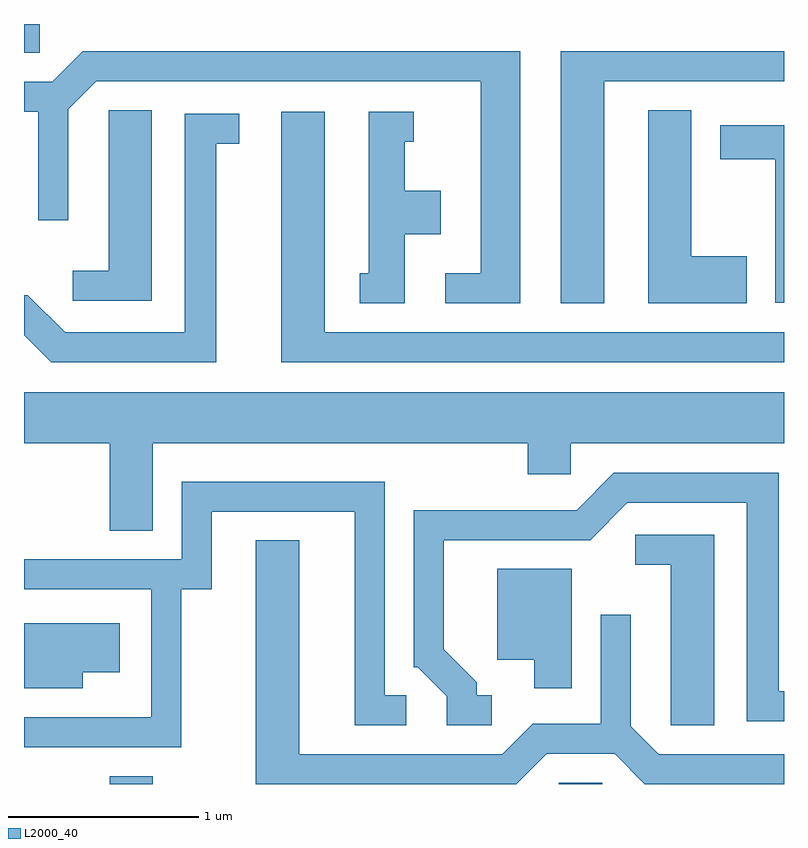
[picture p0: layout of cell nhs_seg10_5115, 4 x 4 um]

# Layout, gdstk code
import gdstk
lib = gdstk.Library(unit=1e-6, precision=1e-09)
def R(c, l, rs):  # rectangles x0, y0, x1, y1
    for r in rs: c.add(gdstk.rectangle(r[:2], r[2:], *l))
def P(c, l, *ps):  # polygons
    for p in ps: c.add(gdstk.Polygon(p, *l))
L2000_40 = (2000, 40)

nhs_seg10_5115 = lib.new_cell('nhs_seg10_5115')
R(nhs_seg10_5115, L2000_40, [(336.061,2156.522,336.289,2156.564), (338.426,2156.522,338.654,2156.529), (335.611,2160.371,335.694,2160.522)])
P(nhs_seg10_5115, L2000_40, [(338.664,2160.221),(339.611,2160.221),(339.611,2160.379),(338.436,2160.379),(338.436,2159.051),(338.664,2159.051)],
  [(338.224,2160.379),(335.919,2160.379),(335.759,2160.219),(335.611,2160.219),(335.611,2160.061),(335.686,2160.061),(335.686,2159.488),(335.844,2159.488),(335.844,2160.074),(335.992,2160.221),(338.016,2160.221),(338.016,2159.209),(337.828,2159.209),(337.828,2159.051),(338.224,2159.051)],
  [(339.414,2159.299),(339.124,2159.299),(339.124,2160.069),(338.896,2160.069),(338.896,2159.051),(339.414,2159.051)],
  [(336.284,2160.069),(336.056,2160.069),(336.056,2159.224),(335.868,2159.224),(335.868,2159.066),(336.284,2159.066)],
  [(337.614,2159.416),(337.804,2159.416),(337.804,2159.644),(337.614,2159.644),(337.614,2159.901),(337.663,2159.901),(337.663,2160.059),(337.426,2160.059),(337.426,2159.209),(337.378,2159.209),(337.378,2159.051),(337.614,2159.051)],
  [(339.611,2158.899),(337.194,2158.899),(337.194,2160.059),(336.966,2160.059),(336.966,2158.741),(339.611,2158.741)],
  [(336.624,2159.891),(336.743,2159.891),(336.743,2160.049),(336.456,2160.049),(336.456,2158.899),(335.827,2158.899),(335.632,2159.094),(335.611,2159.094),(335.611,2158.884),(335.754,2158.741),(336.624,2158.741)],
  [(339.611,2159.989),(339.276,2159.989),(339.276,2159.811),(339.566,2159.811),(339.566,2159.056),(339.611,2159.056)],
  [(336.289,2158.316),(338.261,2158.316),(338.261,2158.151),(338.489,2158.151),(338.489,2158.316),(339.611,2158.316),(339.611,2158.584),(335.611,2158.584),(335.611,2158.316),(336.061,2158.316),(336.061,2157.856),(336.289,2157.856)],
  [(338.073,2156.989),(337.994,2156.989),(337.994,2157.057),(337.819,2157.232),(337.819,2157.806),(338.592,2157.806),(338.787,2158.001),(339.416,2158.001),(339.416,2156.851),(339.611,2156.851),(339.611,2157.009),(339.584,2157.009),(339.584,2158.159),(338.714,2158.159),(338.519,2157.964),(337.661,2157.964),(337.661,2157.136),(337.684,2157.136),(337.836,2156.984),(337.836,2156.831),(338.073,2156.831)],
  [(336.439,2157.546),(336.599,2157.546),(336.599,2157.956),(337.351,2157.956),(337.351,2156.831),(337.623,2156.831),(337.623,2156.989),(337.509,2156.989),(337.509,2158.114),(336.441,2158.114),(336.441,2157.704),(335.611,2157.704),(335.611,2157.546),(336.281,2157.546),(336.281,2156.874),(335.611,2156.874),(335.611,2156.716),(336.439,2156.716)],
  [(339.244,2157.834),(338.828,2157.834),(338.828,2157.676),(339.016,2157.676),(339.016,2156.831),(339.244,2156.831)],
  [(338.362,2156.681),(338.719,2156.681),(338.878,2156.522),(339.611,2156.522),(339.611,2156.679),(338.952,2156.679),(338.804,2156.827),(338.804,2157.413),(338.646,2157.413),(338.646,2156.839),(338.289,2156.839),(338.129,2156.679),(337.059,2156.679),(337.059,2157.804),(336.831,2157.804),(336.831,2156.522),(338.203,2156.522)],
  [(338.494,2157.654),(338.101,2157.654),(338.101,2157.176),(338.296,2157.176),(338.296,2157.026),(338.494,2157.026)],
  [(335.919,2157.111),(336.114,2157.111),(336.114,2157.369),(335.611,2157.369),(335.611,2157.026),(335.919,2157.026)])

lib.write_gds('nhs_seg10_5115.gds')
